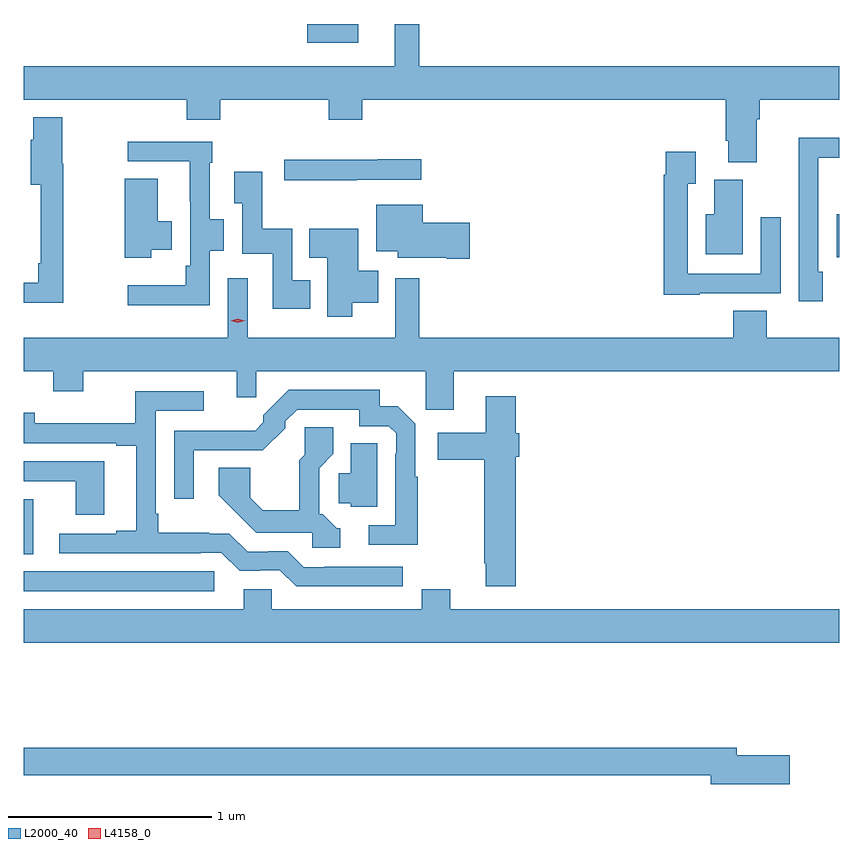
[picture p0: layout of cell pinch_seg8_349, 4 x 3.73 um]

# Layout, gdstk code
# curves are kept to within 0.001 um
import gdstk
lib = gdstk.Library(unit=1e-6, precision=1e-09)
def R(c, l, rs):  # rectangles x0, y0, x1, y1
    for r in rs: c.add(gdstk.rectangle(r[:2], r[2:], *l))
def P(c, l, *ps):  # polygons
    for p in ps: c.add(gdstk.Polygon(p, *l))
L2000_40 = (2000, 40)
L4158_0 = (4158, 0)

pinch_seg8_349 = lib.new_cell('pinch_seg8_349')
R(pinch_seg8_349, L2000_40, [(371.32,1143.393,372.253,1143.489), (371.32,1143.574,371.365,1143.843), (375.308,1145.031,375.32,1145.242), (372.71,1146.083,372.961,1146.176)])
P(pinch_seg8_349, L2000_40, [(374.917,1145.708),(374.93,1145.708),(374.93,1145.804),(375.32,1145.804),(375.32,1145.968),(373.261,1145.968),(373.261,1146.176),(373.139,1146.176),(373.139,1145.968),(371.32,1145.968),(371.32,1145.804),(372.119,1145.804),(372.119,1145.705),(372.284,1145.705),(372.284,1145.804),(372.815,1145.804),(372.815,1145.705),(372.98,1145.705),(372.98,1145.804),(374.765,1145.804),(374.765,1145.602),(374.777,1145.602),(374.777,1145.497),(374.917,1145.497)],
  [(371.512,1145.491),(371.508,1145.491),(371.508,1145.719),(371.366,1145.719),(371.366,1145.609),(371.354,1145.609),(371.354,1145.388),(371.403,1145.388),(371.403,1145.002),(371.391,1145.002),(371.391,1144.905),(371.32,1144.905),(371.32,1144.808),(371.512,1144.808)],
  [(375.241,1144.959),(375.219,1144.959),(375.219,1145.52),(375.32,1145.52),(375.32,1145.618),(375.122,1145.618),(375.122,1145.314),(375.123,1145.314),(375.123,1144.815),(375.241,1144.815)],
  [(372.231,1145.062),(372.301,1145.062),(372.301,1145.217),(372.231,1145.217),(372.231,1145.495),(372.244,1145.495),(372.244,1145.598),(371.829,1145.598),(371.829,1145.502),(372.134,1145.502),(372.134,1145.305),(372.135,1145.305),(372.135,1144.99),(372.115,1144.99),(372.115,1144.894),(371.829,1144.894),(371.829,1144.796),(372.231,1144.796)],
  [(374.637,1144.854),(375.033,1144.854),(375.033,1145.227),(374.937,1145.227),(374.937,1144.95),(374.577,1144.95),(374.577,1145.392),(374.617,1145.392),(374.617,1145.548),(374.469,1145.548),(374.469,1145.435),(374.461,1145.435),(374.461,1144.847),(374.637,1144.847)],
  [(372.953,1145.412),(373.27,1145.412),(373.27,1145.513),(373.057,1145.513),(373.057,1145.51),(372.597,1145.51),(372.597,1145.41),(372.953,1145.41)],
  [(372.724,1144.918),(372.636,1144.918),(372.636,1145.17),(372.489,1145.17),(372.489,1145.452),(372.353,1145.452),(372.353,1145.296),(372.39,1145.296),(372.39,1145.048),(372.54,1145.048),(372.54,1144.778),(372.724,1144.778)],
  [(371.944,1145.069),(372.046,1145.069),(372.046,1145.209),(371.977,1145.209),(371.977,1145.417),(371.815,1145.417),(371.815,1145.03),(371.944,1145.03)],
  [(374.848,1145.412),(374.708,1145.412),(374.708,1145.242),(374.666,1145.242),(374.666,1145.045),(374.848,1145.045)],
  [(373.507,1145.201),(373.276,1145.201),(373.276,1145.29),(373.049,1145.29),(373.049,1145.06),(373.154,1145.06),(373.154,1145.03),(373.394,1145.03),(373.394,1145.023),(373.507,1145.023)],
  [(372.931,1144.808),(373.058,1144.808),(373.058,1144.966),(372.961,1144.966),(372.961,1145.17),(372.721,1145.17),(372.721,1145.03),(372.809,1145.03),(372.809,1144.74),(372.931,1144.74)],
  [(373.429,1144.472),(375.32,1144.472),(375.32,1144.636),(374.966,1144.636),(374.966,1144.769),(374.801,1144.769),(374.801,1144.636),(373.259,1144.636),(373.259,1144.927),(373.143,1144.927),(373.143,1144.636),(372.417,1144.636),(372.417,1144.927),(372.321,1144.927),(372.321,1144.636),(371.32,1144.636),(371.32,1144.472),(371.464,1144.472),(371.464,1144.373),(371.611,1144.373),(371.611,1144.472),(372.365,1144.472),(372.365,1144.343),(372.461,1144.343),(372.461,1144.472),(373.291,1144.472),(373.291,1144.284),(373.429,1144.284)],
  [(373.252,1143.953),(373.24,1143.953),(373.24,1144.214),(373.154,1144.3),(373.065,1144.3),(373.065,1144.38),(372.62,1144.38),(372.495,1144.255),(372.495,1144.221),(372.454,1144.18),(372.057,1144.179),(372.057,1143.846),(372.153,1143.846),(372.153,1144.083),(372.493,1144.083),(372.603,1144.193),(372.603,1144.227),(372.66,1144.284),(372.966,1144.284),(372.966,1144.203),(373.11,1144.203),(373.146,1144.167),(373.146,1144.067),(373.143,1144.067),(373.143,1143.717),(373.011,1143.717),(373.011,1143.621),(373.252,1143.621)],
  [(372.851,1143.417),(373.18,1143.417),(373.18,1143.513),(372.793,1143.513),(372.793,1143.51),(372.693,1143.51),(372.615,1143.588),(372.518,1143.588),(372.518,1143.585),(372.417,1143.585),(372.327,1143.675),(372.23,1143.675),(372.23,1143.679),(371.98,1143.679),(371.98,1143.772),(371.967,1143.772),(371.967,1144.278),(372.202,1144.278),(372.202,1144.374),(371.866,1144.374),(371.866,1144.216),(371.372,1144.216),(371.372,1144.267),(371.32,1144.267),(371.32,1144.119),(371.774,1144.119),(371.774,1144.107),(371.87,1144.107),(371.87,1143.688),(371.774,1143.688),(371.774,1143.675),(371.493,1143.675),(371.493,1143.579),(372.188,1143.579),(372.188,1143.582),(372.288,1143.582),(372.378,1143.492),(372.476,1143.492),(372.476,1143.495),(372.576,1143.495),(372.655,1143.416)],
  [(373.733,1144.053),(373.751,1144.053),(373.751,1144.167),(373.733,1144.167),(373.733,1144.348),(373.586,1144.348),(373.586,1144.171),(373.35,1144.171),(373.35,1144.037),(373.579,1144.037),(373.579,1143.529),(373.586,1143.529),(373.586,1143.417),(373.733,1143.417)],
  [(372.871,1143.702),(372.855,1143.702),(372.786,1143.771),(372.768,1143.771),(372.768,1143.996),(372.838,1144.066),(372.838,1144.198),(372.699,1144.198),(372.699,1144.063),(372.67,1144.034),(372.67,1143.789),(372.491,1143.789),(372.43,1143.85),(372.43,1143.998),(372.276,1143.998),(372.276,1143.862),(372.461,1143.678),(372.735,1143.678),(372.735,1143.606),(372.871,1143.606)],
  [(373.053,1144.118),(372.923,1144.118),(372.923,1143.971),(372.864,1143.971),(372.864,1143.825),(372.924,1143.825),(372.924,1143.806),(373.053,1143.806)],
  [(371.713,1144.029),(371.32,1144.029),(371.32,1143.933),(371.573,1143.933),(371.573,1143.768),(371.713,1143.768)],
  [(375.32,1143.304),(373.411,1143.304),(373.411,1143.403),(373.271,1143.403),(373.271,1143.304),(372.537,1143.304),(372.537,1143.402),(372.398,1143.402),(372.398,1143.304),(371.32,1143.304),(371.32,1143.14),(375.32,1143.14)],
  [(375.079,1142.588),(374.818,1142.588),(374.818,1142.624),(371.32,1142.624),(371.32,1142.488),(374.69,1142.488),(374.69,1142.446),(375.079,1142.446)])
P(pinch_seg8_349, L4158_0, [(372.369,1144.71),(372.334,1144.72),(372.333,1144.72),(372.334,1144.72),(372.369,1144.73),(372.404,1144.72),(372.405,1144.72),(372.404,1144.72)])

lib.write_gds('pinch_seg8_349.gds')
